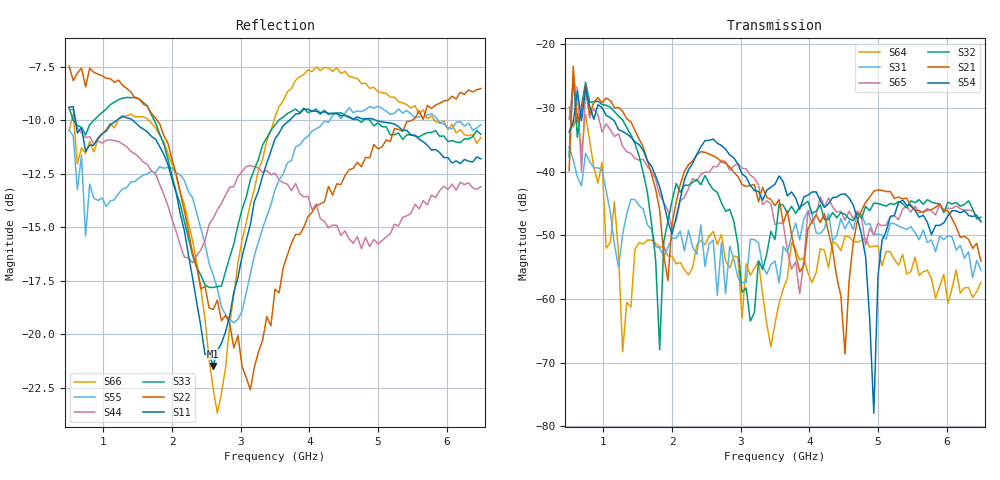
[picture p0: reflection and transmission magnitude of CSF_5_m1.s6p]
!Keysight Technologies,M9804A,MY58100912,A.14.10.03
!Date: Thursday, April 27, 2023 10:28:33
!Correction: S11(C  6-Port  )
!S12(C  6-Port  )
!S13(C  6-Port  )
!S14(C  6-Port  )
!S15(C  6-Port  )
!S16(C  6-Port  )
!S21(C  6-Port  )
!S22(C  6-Port  )
!S23(C  6-Port  )
!S24(C  6-Port  )
!S25(C  6-Port  )
!S26(C  6-Port  )
!S31(C  6-Port  )
!S32(C  6-Port  )
!S33(C  6-Port  )
!S34(C  6-Port  )
!S35(C  6-Port  )
!S36(C  6-Port  )
!S41(C  6-Port  )
!S42(C  6-Port  )
!S43(C  6-Port  )
!S44(C  6-Port  )
!S45(C  6-Port  )
!S46(C  6-Port  )
!S51(C  6-Port  )
!S52(C  6-Port  )
!S53(C  6-Port  )
!S54(C  6-Port  )
!S55(C  6-Port  )
!S56(C  6-Port  )
!S61(C  6-Port  )
!S62(C  6-Port  )
!S63(C  6-Port  )
!S64(C  6-Port  )
!S65(C  6-Port  )
!S66(C  6-Port  )
!S6P File: Measurement: :
# Hz S  RI  R 50
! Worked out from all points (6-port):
!   101 points, 500 MHz to 6.5 GHz, reference 50 ohm
!   strongest paths, dB at 500 MHz, 2 GHz, 3.5 GHz, 5 GHz, 6.5 GHz:
!     S54: -33.8, -49.8, -42.0, -56.5, -47.9
!     S21: -39.8, -48.2, -45.4, -42.9, -54.1
!     S32: -37.7, -44.6, -50.7, -45.0, -47.2
!     S65: -31.8, -48.9, -48.4, -48.1, -47.8
!     S31: -36.2, -50.4, -54.1, -49.8, -55.5
!     S64: -29.9, -53.3, -63.9, -51.7, -57.4
!   lowest |S11| = -21.5 dB at 2.6 GHz (marker M1), VSWR 1.18, Z = 42.5 + j2.15 ohm
!   |S11| at or under -10 dB: 590.8 MHz to 1.195 GHz (604.2 MHz wide, 67.7 % of centre); 1.425 GHz to 3.713 GHz (2.288 GHz wide, 89 % of centre); 4.97 GHz to end of sweep
